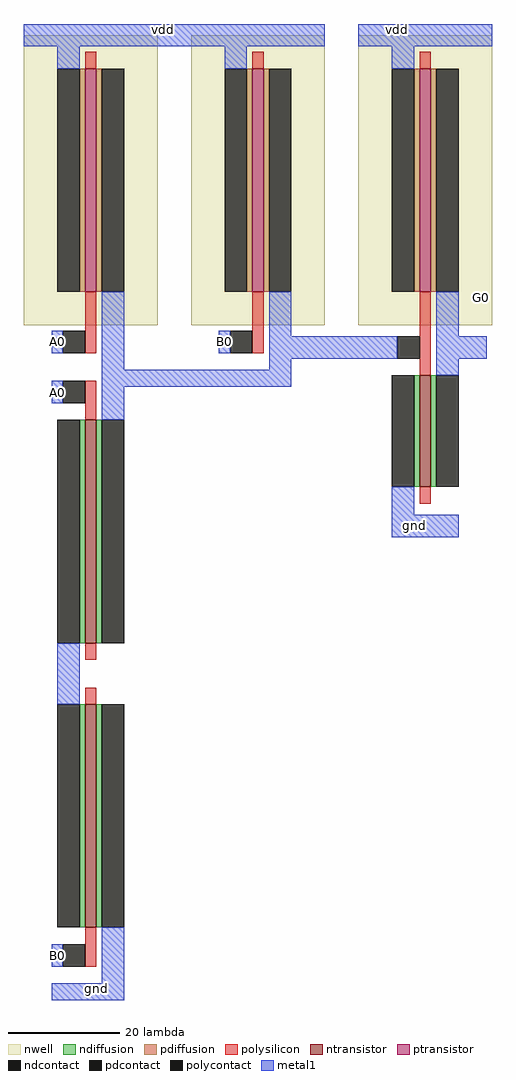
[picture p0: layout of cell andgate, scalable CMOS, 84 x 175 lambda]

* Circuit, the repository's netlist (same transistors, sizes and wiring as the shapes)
* SPICE3 file created from andgate.ext - technology: scmos

.option scale=0.09u

M1000 a_n273_1349# A0 vdd w_n286_1406# pfet w=40 l=2
+  ad=400 pd=180 as=600 ps=270
M1001 gnd B0 a_n280_1298# Gnd nfet w=40 l=2
+  ad=300 pd=140 as=400 ps=180
M1002 a_n273_1349# A0 a_n280_1298# Gnd nfet w=40 l=2
+  ad=200 pd=90 as=0 ps=0
M1003 a_n213_1377# a_n273_1349# gnd Gnd nfet w=20 l=2
+  ad=100 pd=50 as=0 ps=0
M1004 a_n213_1377# a_n273_1349# vdd G0 pfet w=40 l=2
+  ad=200 pd=90 as=0 ps=0
M1005 a_n273_1349# B0 vdd w_n256_1406# pfet w=40 l=2
+  ad=0 pd=0 as=0 ps=0

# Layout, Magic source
magic
tech scmos
<< nwell >>
rect -286 1406 -262 1458
rect -256 1406 -232 1458
rect -226 1406 -202 1458
<< ntransistor >>
rect -275 1349 -273 1389
rect -215 1377 -213 1397
rect -275 1298 -273 1338
<< ptransistor >>
rect -275 1412 -273 1452
rect -245 1412 -243 1452
rect -215 1412 -213 1452
<< ndiffusion >>
rect -276 1349 -275 1389
rect -273 1349 -272 1389
rect -216 1377 -215 1397
rect -213 1377 -212 1397
rect -276 1298 -275 1338
rect -273 1298 -272 1338
<< pdiffusion >>
rect -276 1412 -275 1452
rect -273 1412 -272 1452
rect -246 1412 -245 1452
rect -243 1412 -242 1452
rect -216 1412 -215 1452
rect -213 1412 -212 1452
<< ndcontact >>
rect -280 1349 -276 1389
rect -272 1349 -268 1389
rect -220 1377 -216 1397
rect -212 1377 -208 1397
rect -280 1298 -276 1338
rect -272 1298 -268 1338
<< pdcontact >>
rect -280 1412 -276 1452
rect -272 1412 -268 1452
rect -250 1412 -246 1452
rect -242 1412 -238 1452
rect -220 1412 -216 1452
rect -212 1412 -208 1452
<< polysilicon >>
rect -275 1452 -273 1455
rect -245 1452 -243 1455
rect -215 1452 -213 1455
rect -275 1401 -273 1412
rect -245 1401 -243 1412
rect -215 1397 -213 1412
rect -275 1389 -273 1396
rect -215 1374 -213 1377
rect -275 1346 -273 1349
rect -275 1338 -273 1341
rect -275 1291 -273 1298
<< polycontact >>
rect -279 1401 -275 1405
rect -249 1401 -245 1405
rect -219 1400 -215 1404
rect -279 1392 -275 1396
rect -279 1291 -275 1295
<< metal1 >>
rect -286 1456 -232 1460
rect -226 1456 -202 1460
rect -280 1452 -276 1456
rect -250 1452 -246 1456
rect -220 1452 -216 1456
rect -281 1401 -279 1405
rect -272 1398 -268 1412
rect -251 1401 -249 1405
rect -242 1404 -238 1412
rect -212 1404 -208 1412
rect -242 1400 -219 1404
rect -212 1400 -203 1404
rect -242 1398 -238 1400
rect -281 1392 -279 1396
rect -272 1395 -238 1398
rect -212 1397 -208 1400
rect -272 1389 -268 1395
rect -220 1372 -216 1377
rect -220 1368 -208 1372
rect -280 1338 -276 1349
rect -281 1291 -279 1295
rect -272 1288 -268 1298
rect -281 1285 -268 1288
<< labels >>
rlabel metal1 -273 1287 -273 1287 1 gnd
rlabel metal1 -216 1370 -216 1370 1 gnd
rlabel metal1 -219 1459 -219 1459 5 vdd
rlabel metal1 -261 1459 -261 1459 5 vdd
rlabel metal1 -280 1403 -280 1403 1 A0
rlabel metal1 -250 1403 -250 1403 1 B0
rlabel metal1 -280 1394 -280 1394 1 A0
rlabel metal1 -280 1293 -280 1293 1 B0
rlabel nwell -204 1411 -204 1411 1 G0
<< end >>
